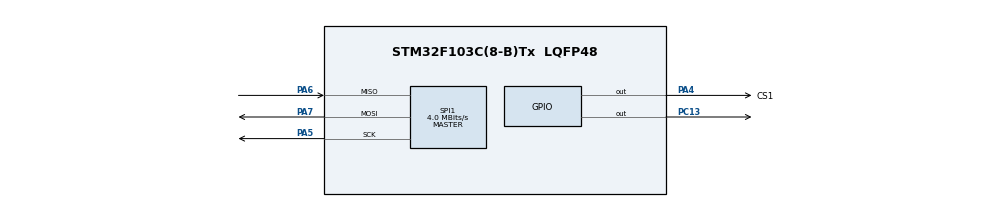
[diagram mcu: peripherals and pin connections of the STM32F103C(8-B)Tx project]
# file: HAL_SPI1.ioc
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Mcu.Family=STM32F1
Mcu.Name=STM32F103C(8-B)Tx
Mcu.Package=LQFP48
NVIC.PriorityGroup=NVIC_PRIORITYGROUP_4
NVIC.SPI1_IRQn=true\:1\:0\:true\:false\:true\:true\:true\:true
PA13.Mode=Serial_Wire
PA13.Signal=SYS_JTMS-SWDIO
PA14.Mode=Serial_Wire
PA14.Signal=SYS_JTCK-SWCLK
PA4.GPIO_Label=CS1
PA4.GPIO_ModeDefaultOutputPP=GPIO_MODE_OUTPUT_PP
PA4.GPIO_PuPd=GPIO_PULLUP
PA4.GPIO_Speed=GPIO_SPEED_FREQ_HIGH
PA4.PinState=GPIO_PIN_SET
PA4.Signal=GPIO_Output
PA5.Mode=Full_Duplex_Master
PA5.Signal=SPI1_SCK
PA6.Mode=Full_Duplex_Master
PA6.Signal=SPI1_MISO
PA7.Mode=Full_Duplex_Master
PA7.Signal=SPI1_MOSI
PC13-TAMPER-RTC.GPIO_PuPd=GPIO_PULLUP
PC13-TAMPER-RTC.GPIO_Speed=GPIO_SPEED_FREQ_HIGH
PC13-TAMPER-RTC.PinState=GPIO_PIN_SET
PC13-TAMPER-RTC.Signal=GPIO_Output
ProjectManager.HeapSize=0x200
ProjectManager.StackSize=0x400
ProjectManager.TargetToolchain=MDK-ARM V5.32
RCC.APB1Freq_Value=8000000
RCC.APB2Freq_Value=8000000
SPI1.CalculateBaudRate=4.0 MBits/s
SPI1.Direction=SPI_DIRECTION_2LINES
SPI1.Mode=SPI_MODE_MASTER
SPI1.VirtualType=VM_MASTER
board=custom

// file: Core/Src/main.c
/* USER CODE BEGIN Header */
/**
  ******************************************************************************
  * @file           : main.c
  * @brief          : Main program body
  ******************************************************************************
  * @attention
  *
  * Copyright (c) 2023 STMicroelectronics.
  * All rights reserved.
  *
  * This software is licensed under terms that can be found in the LICENSE file
  * in the root directory of this software component.
  * If no LICENSE file comes with this software, it is provided AS-IS.
  *
  ******************************************************************************
  */
/* USER CODE END Header */
#include "main.h"

/* USER CODE BEGIN Includes */
#include <stdio.h>

uint8_t BufTX[8]="00001011";
uint8_t BufTX2[8]="00000010";
int led_array[8]={0x00,0x66,0xff,0xff,0xff,0x7e,0x3c,0x18};

/* USER CODE END Includes */

SPI_HandleTypeDef hspi1;

void SystemClock_Config(void);
static void MX_GPIO_Init(void);
static void MX_SPI1_Init(void);
/* USER CODE BEGIN PFP */

//Ham bao ngat

/* USER CODE END PFP */

/* USER CODE BEGIN 0 */
static void Spi_send(uint8_t add,uint8_t data)
{
	uint8_t txdata[2]={add,data};
	HAL_GPIO_WritePin(CS1_GPIO_Port,CS1_Pin,GPIO_PIN_RESET);
	HAL_SPI_Transmit(&hspi1,txdata,2,100);
	HAL_GPIO_WritePin(CS1_GPIO_Port,CS1_Pin,GPIO_PIN_SET);
}

/* USER CODE END 0 */

int main(void)
{

  /* MCU Configuration--------------------------------------------------------*/

  /* Reset of all peripherals, Initializes the Flash interface and the Systick. */
  HAL_Init();

  /* Configure the system clock */
  SystemClock_Config();

  /* Initialize all configured peripherals */
  MX_GPIO_Init();
  MX_SPI1_Init();
  /* USER CODE BEGIN 2 */

		//HAL_GPIO_WritePin(CS1_GPIO_Port,CS1_Pin,0);
		//Spi_send(0x0D,0x0D);
		//HAL_GPIO_WritePin(CS1_GPIO_Port,CS1_Pin,1);
		//HAL_GPIO_TogglePin(GPIOC,GPIO_PIN_13);
	  //HAL_Delay(1000);

		Spi_send(0x09,0xff);
		HAL_GPIO_TogglePin(GPIOC,GPIO_PIN_13);
		HAL_Delay(1000);

		Spi_send(0x0A,0x03);
		HAL_GPIO_TogglePin(GPIOC,GPIO_PIN_13);
		HAL_Delay(1000);

		Spi_send(0x0B,0x01);
		HAL_GPIO_TogglePin(GPIOC,GPIO_PIN_13);
		HAL_Delay(1000);

		Spi_send(0x0C,0x01);
		HAL_GPIO_TogglePin(GPIOC,GPIO_PIN_13);
		HAL_Delay(1000);

		Spi_send(0x0D,0x00);
		HAL_GPIO_TogglePin(GPIOC,GPIO_PIN_13);
		HAL_Delay(1000);

		for (int i=0;i<8;++i)
    {
			Spi_send(i+1,led_array[i]);
    }
  /* USER CODE END 2 */

  /* Infinite loop */
  while (1)
  {

  }
}

void SystemClock_Config(void)
{
  RCC_OscInitTypeDef RCC_OscInitStruct = {0};
  RCC_ClkInitTypeDef RCC_ClkInitStruct = {0};

  /** Initializes the RCC Oscillators according to the specified parameters
  * in the RCC_OscInitTypeDef structure.
  */
  RCC_OscInitStruct.OscillatorType = RCC_OSCILLATORTYPE_HSI;
  RCC_OscInitStruct.HSIState = RCC_HSI_ON;
  RCC_OscInitStruct.HSICalibrationValue = RCC_HSICALIBRATION_DEFAULT;
  RCC_OscInitStruct.PLL.PLLState = RCC_PLL_NONE;
  if (HAL_RCC_OscConfig(&RCC_OscInitStruct) != HAL_OK)
  {
    Error_Handler();
  }

  /** Initializes the CPU, AHB and APB buses clocks
  */
  RCC_ClkInitStruct.ClockType = RCC_CLOCKTYPE_HCLK|RCC_CLOCKTYPE_SYSCLK
                              |RCC_CLOCKTYPE_PCLK1|RCC_CLOCKTYPE_PCLK2;
  RCC_ClkInitStruct.SYSCLKSource = RCC_SYSCLKSOURCE_HSI;
  RCC_ClkInitStruct.AHBCLKDivider = RCC_SYSCLK_DIV1;
  RCC_ClkInitStruct.APB1CLKDivider = RCC_HCLK_DIV1;
  RCC_ClkInitStruct.APB2CLKDivider = RCC_HCLK_DIV1;

  if (HAL_RCC_ClockConfig(&RCC_ClkInitStruct, FLASH_LATENCY_0) != HAL_OK)
  {
    Error_Handler();
  }
}

static void MX_SPI1_Init(void)
{

  /* SPI1 parameter configuration*/
  hspi1.Instance = SPI1;
  hspi1.Init.Mode = SPI_MODE_MASTER;
  hspi1.Init.Direction = SPI_DIRECTION_2LINES;
  hspi1.Init.DataSize = SPI_DATASIZE_8BIT;
  hspi1.Init.CLKPolarity = SPI_POLARITY_LOW;
  hspi1.Init.CLKPhase = SPI_PHASE_1EDGE;
  hspi1.Init.NSS = SPI_NSS_SOFT;
  hspi1.Init.BaudRatePrescaler = SPI_BAUDRATEPRESCALER_2;
  hspi1.Init.FirstBit = SPI_FIRSTBIT_MSB;
  hspi1.Init.TIMode = SPI_TIMODE_DISABLE;
  hspi1.Init.CRCCalculation = SPI_CRCCALCULATION_DISABLE;
  hspi1.Init.CRCPolynomial = 10;
  if (HAL_SPI_Init(&hspi1) != HAL_OK)
  {
    Error_Handler();
  }

}

static void MX_GPIO_Init(void)
{
  GPIO_InitTypeDef GPIO_InitStruct = {0};

  /* GPIO Ports Clock Enable */
  __HAL_RCC_GPIOC_CLK_ENABLE();
  __HAL_RCC_GPIOA_CLK_ENABLE();

  /*Configure GPIO pin Output Level */
  HAL_GPIO_WritePin(GPIOC, GPIO_PIN_13, GPIO_PIN_SET);

  /*Configure GPIO pin Output Level */
  HAL_GPIO_WritePin(CS1_GPIO_Port, CS1_Pin, GPIO_PIN_SET);

  /*Configure GPIO pin : PC13 */
  GPIO_InitStruct.Pin = GPIO_PIN_13;
  GPIO_InitStruct.Mode = GPIO_MODE_OUTPUT_PP;
  GPIO_InitStruct.Pull = GPIO_PULLUP;
  GPIO_InitStruct.Speed = GPIO_SPEED_FREQ_HIGH;
  HAL_GPIO_Init(GPIOC, &GPIO_InitStruct);

  /*Configure GPIO pin : CS1_Pin */
  GPIO_InitStruct.Pin = CS1_Pin;
  GPIO_InitStruct.Mode = GPIO_MODE_OUTPUT_PP;
  GPIO_InitStruct.Pull = GPIO_PULLUP;
  GPIO_InitStruct.Speed = GPIO_SPEED_FREQ_HIGH;
  HAL_GPIO_Init(CS1_GPIO_Port, &GPIO_InitStruct);

}

void Error_Handler(void)
{
  __disable_irq();
  while (1)
  {
  }
}
